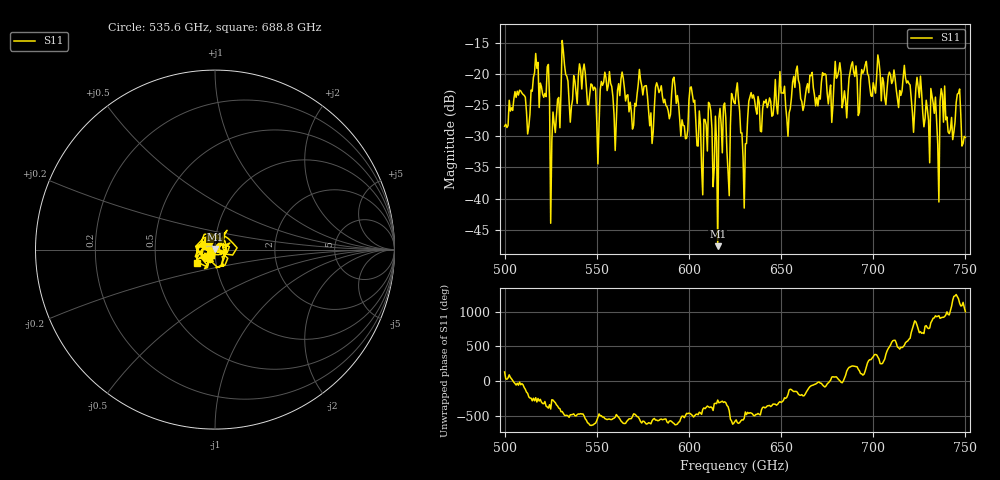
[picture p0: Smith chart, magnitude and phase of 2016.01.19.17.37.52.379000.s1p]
!Created with skrf (http://scikit-rf.org).
# GHz S RI R 50.0
!freq ReS11 ImS11
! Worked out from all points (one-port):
!   401 points, 500 GHz to 750 GHz, reference 50 ohm
!   lowest |S11| = -47.7 dB at 615.6 GHz (marker M1), VSWR 1.01, Z = 50 + j0.412 ohm
!   |S11| at or under -10 dB: start of sweep to end of sweep
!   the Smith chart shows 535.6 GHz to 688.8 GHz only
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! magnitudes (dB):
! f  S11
! 500 GHz  -28.4
! 513.1 GHz  -28.4
! 516.9 GHz  -16.7
! 523.1 GHz  -18.8
! 526.2 GHz  -26.1
! 531.2 GHz  -14.6
! 550.6 GHz  -34.4
! 553.8 GHz  -21.3
! 560 GHz  -32.3
! 562.5 GHz  -23.5
! 568.8 GHz  -26.0
! 574.4 GHz  -21.8
! 579.4 GHz  -26.2
! 583.1 GHz  -22.0
! 593.8 GHz  -23.4
! 615.6 GHz  -47.7
! 618.1 GHz  -32.7
! 621.2 GHz  -35.8
! 625 GHz  -24.8
! 630 GHz  -41.5
! 633.8 GHz  -23.0
! 656.2 GHz  -21.3
! 687.5 GHz  -19.5
! 718.8 GHz  -21.1
! 732.5 GHz  -24.6
! 734.4 GHz  -27.6
! 746.2 GHz  -23.1
! 750 GHz  -30.2
